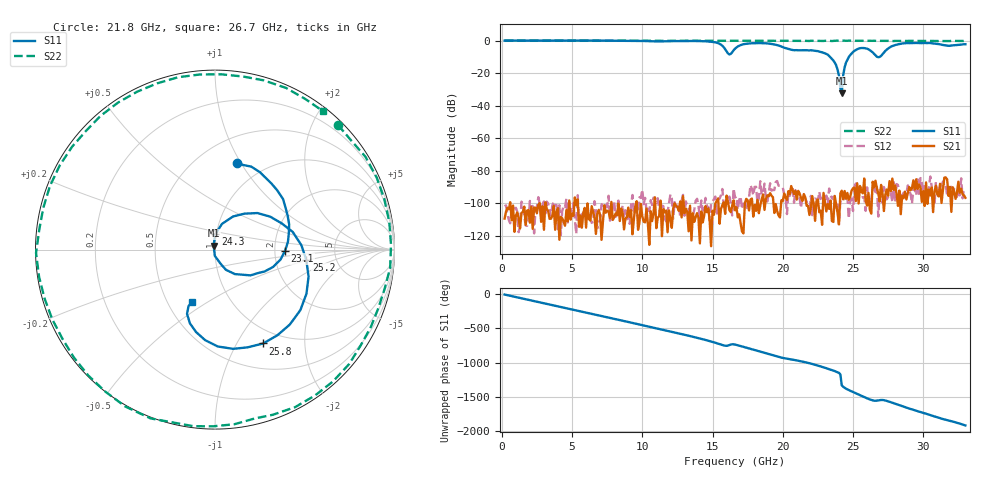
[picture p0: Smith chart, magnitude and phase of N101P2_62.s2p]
# GHZ S RI R 50
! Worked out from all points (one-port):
!   329 points, 200 MHz to 33 GHz, reference 50 ohm
!   lowest |S11| = -32.5 dB at 24.2 GHz (marker M1), VSWR 1.05, Z = 49.2 + j2.2 ohm
!   |S11| at or under -10 dB: 23.36 GHz to 24.71 GHz (1.351 GHz wide, 5.62 % of centre); 26.72 GHz to 26.91 GHz (189.7 MHz wide, 0.707 % of centre)
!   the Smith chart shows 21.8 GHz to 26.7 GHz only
!   S11 on the Smith chart (normalised r, x): 21.8 GHz: 0.75, +0.96; 23.1 GHz: 2.28, -0.04; 24.3 GHz: 0.99, +0.17; 25.2 GHz: 3.01, -0.48; 25.8 GHz: 0.81, -1.29; 26.7 GHz: 0.66, -0.43
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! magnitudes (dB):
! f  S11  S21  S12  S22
! 200 MHz  0.0  -109.3  -101.7  0.0
! 5.7 GHz  0.0  -114.9  -104.8  -0.1
! 11.2 GHz  -0.5  -107.9  -103.6  -0.2
! 15.2 GHz  -1.1  -100.0  -95.8  -0.1
! 16.2 GHz  -8.5  -104.1  -95.8  -0.2
! 16.6 GHz  -5.0  -104.3  -96.4  -0.1
! 18.4 GHz  -1.6  -101.2  -86.4  -0.2
! 21.8 GHz  -6.0  -101.5  -99.1  -0.2
! 22.1 GHz  -6.0  -95.5  -107.3  -0.1
! 23.1 GHz  -8.2  -104.9  -95.2  -0.1
! 23.8 GHz  -15.1  -100.7  -102.0  -0.1
! 24 GHz  -21.5  -112.9  -113.4  0.1
! 24.1 GHz  -29.2  -93.9  -98.8  0.1
! 24.2 GHz  -32.5  -92.2  -98.0  0.0
! 24.3 GHz  -21.3  -97.5  -98.8  0.0
! 24.6 GHz  -11.8  -93.6  -96.5  -0.1
! 25.2 GHz  -5.8  -98.6  -86.4  -0.1
! 25.8 GHz  -4.6  -84.7  -96.1  -0.2
! 26.7 GHz  -9.9  -90.9  -89.8  -0.2
! 27.6 GHz  -4.3  -86.3  -93.9  -0.2
! 28.9 GHz  -1.5  -93.9  -89.0  -0.2
! 33 GHz  -2.3  -96.6  -91.5  -0.3
